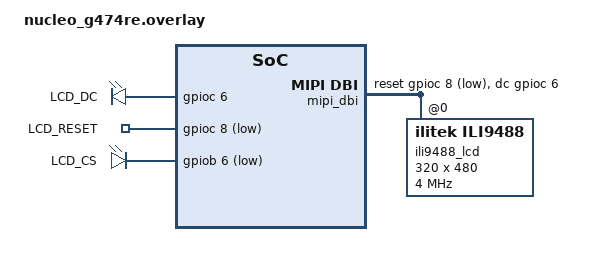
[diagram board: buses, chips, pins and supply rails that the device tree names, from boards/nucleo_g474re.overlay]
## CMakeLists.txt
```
cmake_minimum_required(VERSION 3.20.0)

# Point the build at the HMI module (this sample lives inside it).
set(ZEPHYR_EXTRA_MODULES ${CMAKE_CURRENT_SOURCE_DIR}/../..)

find_package(Zephyr REQUIRED HINTS $ENV{ZEPHYR_BASE})
project(hmi_gauge_demo LANGUAGES C)

target_sources(app PRIVATE src/main.c)
```

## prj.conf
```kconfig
# App-side settings the HMI library needs
CONFIG_MAIN_STACK_SIZE=8192

CONFIG_GPIO=y
CONFIG_SPI=y

CONFIG_LOG=y

# Display driver stack (ILI9488 over 4-wire MIPI DBI/SPI)
CONFIG_DISPLAY=y
CONFIG_DISPLAY_LOG_LEVEL_ERR=y

# LVGL, rendering natively in the panel's 18-bit RGB666 mode.
# The HMI module (CONFIG_HMI) selects the widgets and fonts it needs;
# the display-specific settings stay here.
CONFIG_LVGL=y
CONFIG_LV_COLOR_DEPTH_24=y
CONFIG_LV_Z_VDB_SIZE=10
CONFIG_LV_Z_MEM_POOL_SIZE=16384
CONFIG_LV_USE_LOG=y
CONFIG_LV_LOG_LEVEL_ERROR=y

# HMI library
CONFIG_HMI=y

# Optional LVGL performance overlay (debug). Use the runtime-stats CPU load
# backend, NOT the default idle-hook backend.
CONFIG_LV_USE_SYSMON=y
CONFIG_LV_USE_PERF_MONITOR=y
CONFIG_CPU_LOAD_BACKEND_RUNTIME_STATS=y
```

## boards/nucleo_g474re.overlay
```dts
/*
 * SPI1 is pre-configured in nucleo_g474re.dts on PA5/PA6/PA7 with
 * cs-gpios = PB6. The ILI9488 panel is driven through a zephyr,mipi-dbi-spi
 * controller on SPI1 with PC8=RESET, PC6=DC as GPIOs.
 *
 * Pin conflicts resolved here:
 *  - green LED on PA5                  -> leds/pwmleds/timers2 disabled (PA5 = SPI1 SCK)
 *  - console/shell on lpuart1 (PA2/PA3) -> ST-LINK VCP (/dev/ttyACM0); usart1 (PC4/PC5) disabled
 *  - spi2/spi3 (PB12-15, PA15/PC10-12) disabled, their pins are not used
 *
 * Board 3V3 and 5V header rails power the panel (backlight/VIN), no DT node.
 */

#include <zephyr/dt-bindings/display/panel.h>
#include <zephyr/dt-bindings/dma/stm32_dma.h>
#include <freq.h>

/ {
    chosen {
        zephyr,console = &lpuart1;
        zephyr,shell-uart = &lpuart1;
        zephyr,display = &ili9488_lcd;
    };

    lcd_gpios {
        compatible = "gpio-leds";
        lcd_dc: lcd_dc {
            gpios = <&gpioc 6 GPIO_ACTIVE_HIGH>;
            label = "LCD_DC";
        };
        lcd_rst: lcd_rst {
            gpios = <&gpioc 8 GPIO_ACTIVE_LOW>;
            label = "LCD_RESET";
        };
        lcd_cs: lcd_cs {
            gpios = <&gpiob 6 (GPIO_ACTIVE_LOW | GPIO_PULL_UP)>;
            label = "LCD_CS";
        };
    };

    mipi_dbi: mipi_dbi {
        compatible = "zephyr,mipi-dbi-spi";
        spi-dev = <&spi1>;
        dc-gpios = <&gpioc 6 GPIO_ACTIVE_HIGH>;
        reset-gpios = <&gpioc 8 GPIO_ACTIVE_LOW>;
        #address-cells = <1>;
        #size-cells = <0>;
        status = "okay";

        ili9488_lcd: ili9488@0 {
            compatible = "ilitek,ili9488";
            reg = <0>;
            mipi-mode = "MIPI_DBI_MODE_SPI_4WIRE";
            /* 4 MHz matches the proven ili9488_diag SPI speed on this wiring. */
            mipi-max-frequency = <DT_FREQ_M(4)>;
            /* Physical GRAM is 320x480; rotation 270 => landscape 480x320
             * with MADCTL MY|MV|BGR = 0xA8 (same as ili9488_diag). */
            width = <320>;
            height = <480>;
            /* RGB_888: the ILI9488 is driven in its native 18-bit RGB666 mode
             * (COLMOD 0x66, 3 bytes/pixel), the only mode validated to render
             * correct colors on this panel through the 4-wire SPI path. */
            pixel-format = <PANEL_PIXEL_FORMAT_RGB_888>;
            rotation = <270>;
            /* LCDWIKI MSP3520 initsq16 register table (proven in ili9488_diag). */
            frmctr1 = [b0 11];
            disctrl = [02 22 3b];
            pwctrl1 = [11 09];
            pwctrl2 = [41];
            vmctrl = [00 0a 80 40];
            pgamctrl = [00 07 10 09 17 0b 41 89 4b 0a 0c 0e 18 1b 0f];
            ngamctrl = [00 17 1a 04 0e 06 2f 45 43 02 0a 09 32 36 0f];
            status = "okay";
        };
    };
};

&leds {
    status = "disabled";
};

&usart1 {
    status = "disabled";
};

/ {
    pwmleds {
        status = "disabled";
    };
};

&timers2 {
    status = "disabled";
};

&spi2 {
    status = "disabled";
};

&spi3 {
    status = "disabled";
};

/* DMA disabled for the bisection test: match ili9488_diag (no DMA). */
&dma1 {
    status = "disabled";
};

&dmamux1 {
    status = "disabled";
};
```

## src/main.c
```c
/*
 * SPDX-License-Identifier: Apache-2.0
 *
 * Gauge demo using the HMI library. The module provides the display
 * lifecycle (hmi_init/hmi_show) and the gauge widgets; this app only
 * wires them together.
 */

#include <lvgl.h>

#include <hmi/hmi.h>

int main(void)
{
    if (hmi_init() < 0) {
        return 0;
    }

    hmi_gauge_show_ui(lv_screen_active());
    hmi_show();

    return 0;   /* unreachable: hmi_show() loops forever */
}
```
